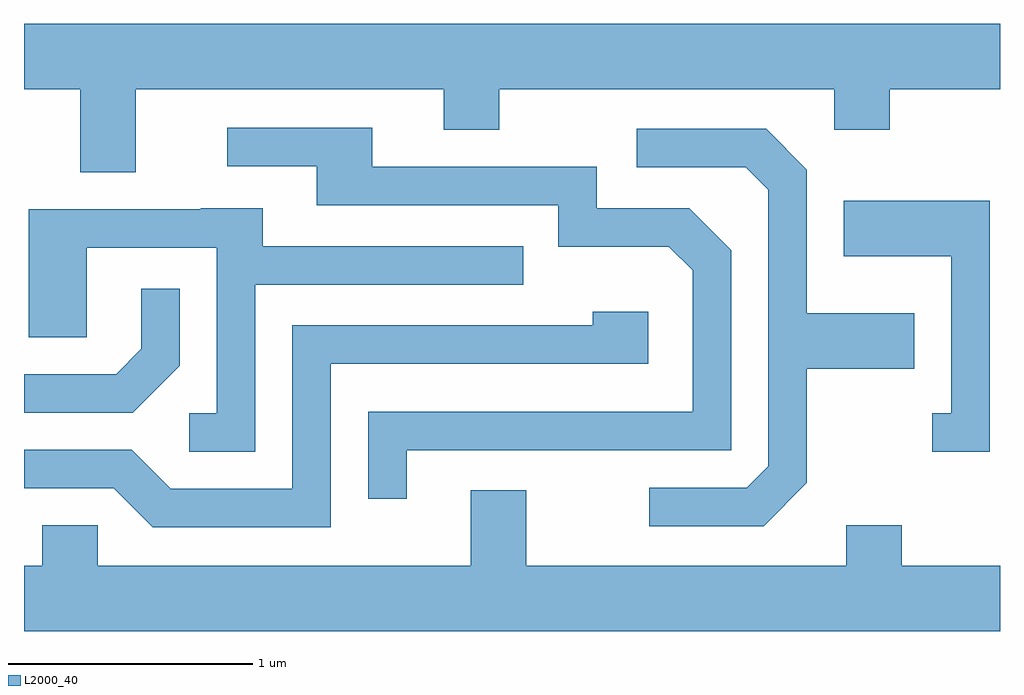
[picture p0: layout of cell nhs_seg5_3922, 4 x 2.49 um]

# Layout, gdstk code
import gdstk
lib = gdstk.Library(unit=1e-6, precision=1e-09)
def P(c, l, *ps):  # polygons
    for p in ps: c.add(gdstk.Polygon(p, *l))
L2000_40 = (2000, 40)

nhs_seg5_3922 = lib.new_cell('nhs_seg5_3922')
P(nhs_seg5_3922, L2000_40, [(302.069,1445.696),(303.331,1445.696),(303.331,1445.531),(303.559,1445.531),(303.559,1445.696),(304.931,1445.696),(304.931,1445.531),(305.159,1445.531),(305.159,1445.696),(305.611,1445.696),(305.611,1445.964),(301.611,1445.964),(301.611,1445.696),(301.841,1445.696),(301.841,1445.356),(302.069,1445.356)],
  [(303.179,1444.216),(304.509,1444.216),(304.509,1445.037),(304.337,1445.209),(303.959,1445.209),(303.959,1445.379),(303.039,1445.379),(303.039,1445.539),(302.443,1445.539),(302.443,1445.381),(302.811,1445.381),(302.811,1445.221),(303.801,1445.221),(303.801,1445.051),(304.254,1445.051),(304.351,1444.954),(304.351,1444.374),(303.021,1444.374),(303.021,1444.018),(303.179,1444.018)],
  [(304.819,1444.084),(304.819,1444.551),(305.259,1444.551),(305.259,1444.779),(304.819,1444.779),(304.819,1445.367),(304.652,1445.534),(304.123,1445.534),(304.123,1445.376),(304.569,1445.376),(304.661,1445.284),(304.661,1444.152),(304.574,1444.064),(304.173,1444.064),(304.173,1443.906),(304.642,1443.906)],
  [(305.569,1445.239),(304.971,1445.239),(304.971,1445.011),(305.411,1445.011),(305.411,1444.369),(305.333,1444.369),(305.333,1444.211),(305.569,1444.211)],
  [(302.559,1444.896),(303.658,1444.896),(303.658,1445.054),(302.589,1445.054),(302.589,1445.209),(302.335,1445.209),(302.335,1445.204),(301.631,1445.204),(301.631,1444.681),(301.869,1444.681),(301.869,1445.046),(302.401,1445.046),(302.401,1444.369),(302.288,1444.369),(302.288,1444.211),(302.559,1444.211)],
  [(302.249,1444.564),(302.249,1444.878),(302.091,1444.878),(302.091,1444.632),(301.989,1444.529),(301.611,1444.529),(301.611,1444.371),(302.057,1444.371)],
  [(302.869,1444.571),(304.169,1444.571),(304.169,1444.784),(303.941,1444.784),(303.941,1444.729),(302.711,1444.729),(302.711,1444.059),(302.212,1444.059),(302.052,1444.219),(301.611,1444.219),(301.611,1444.061),(301.979,1444.061),(302.139,1443.901),(302.869,1443.901)],
  [(305.611,1443.744),(305.209,1443.744),(305.209,1443.909),(304.981,1443.909),(304.981,1443.744),(303.669,1443.744),(303.669,1444.054),(303.441,1444.054),(303.441,1443.744),(301.914,1443.744),(301.914,1443.909),(301.686,1443.909),(301.686,1443.744),(301.611,1443.744),(301.611,1443.476),(305.611,1443.476)])

lib.write_gds('nhs_seg5_3922.gds')
